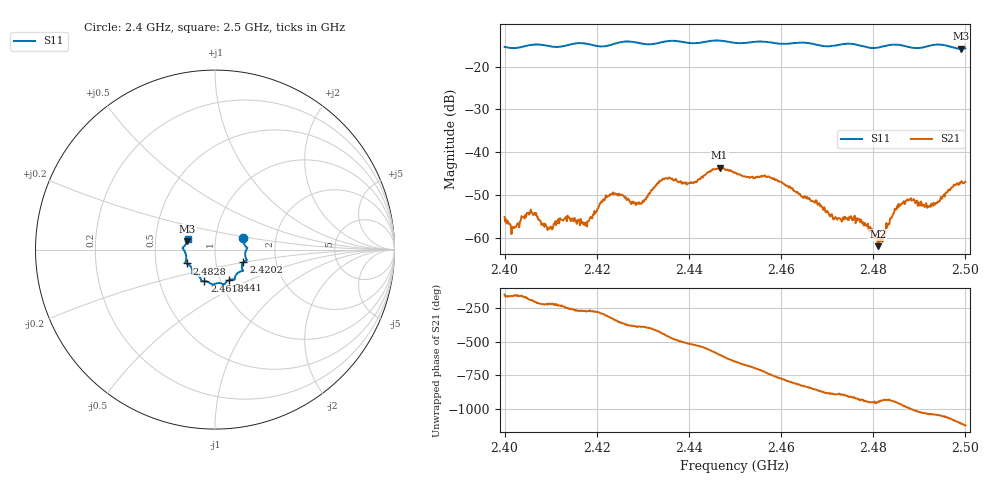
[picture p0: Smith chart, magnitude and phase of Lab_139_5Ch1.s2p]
# Hz S RI R 50
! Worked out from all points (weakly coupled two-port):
!   601 points, 2.4 GHz to 2.5 GHz, reference 50 ohm
!   highest |S21| = -43.58 dB at 2.4467 GHz (marker M1); lowest = -61.9 dB at 2.481 GHz (marker M2)
!   lowest |S11| = -15.8 dB at 2.499 GHz (marker M3), VSWR 1.38, Z = 36.5 + j3.49 ohm
!   |S11| at or under -10 dB: start of sweep to end of sweep
!   S12 and S22 are empty: the file has one direction only
!   S11 on the Smith chart (normalised r, x): 2.4 GHz: 1.36, +0.18; 2.4202 GHz: 1.36, -0.20; 2.441 GHz: 1.10, -0.39; 2.4618 GHz: 0.84, -0.30; 2.4828 GHz: 0.72, -0.11; 2.5 GHz: 0.73, +0.09
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2.4e9  0.1574 0.063  -0.0015 -0.000907  0 0  0 0
2.402e9  0.1593 0.0389  -0.00121 -0.000459  0 0  0 0
2.405333e9  0.1771 0.0132  -0.00186 0.000204  0 0  0 0
2.409833e9  0.1724 -0.00419  -0.001 0.000807  0 0  0 0
2.416667e9  0.1779 -0.06  -7.35e-05 0.00149  0 0  0 0
2.420167e9  0.1581 -0.0707  0.000344 0.00217  0 0  0 0
2.423667e9  0.1507 -0.1039  0.00289 0.00143  0 0  0 0
2.429833e9  0.138 -0.1232  0.00225 -0.00125  0 0  0 0
2.433333e9  0.1121 -0.1511  0.00212 -0.0039  0 0  0 0
2.441e9  0.0786 -0.1696  -0.00415 -0.00134  0 0  0 0
2.446667e9  0.0493 -0.1949  -0.00352 0.00561  0 0  0 0
2.45e9  0.0285 -0.1871  0.00173 0.00545  0 0  0 0
2.461833e9  -0.0592 -0.1758  0.000938 -0.00389  0 0  0 0
2.466667e9  -0.0778 -0.1681  -0.00166 -0.00214  0 0  0 0
2.477e9  -0.1261 -0.1241  -0.00147 0.000754  0 0  0 0
2.481e9  -0.1426 -0.0859  -0.000537 0.000597  0 0  0 0
2.482833e9  -0.1575 -0.0772  -0.00127 0.000789  0 0  0 0
2.483333e9  -0.1605 -0.0761  -0.00125 0.000761  0 0  0 0
2.487e9  -0.162 -0.0606  -0.000353 0.00261  0 0  0 0
2.492167e9  -0.1748 -0.000716  0.00166 0.00163  0 0  0 0
2.499e9  -0.1545 0.0466  0.00405 -0.0019  0 0  0 0
2.5e9  -0.1515 0.0609  0.00334 -0.00305  0 0  0 0
